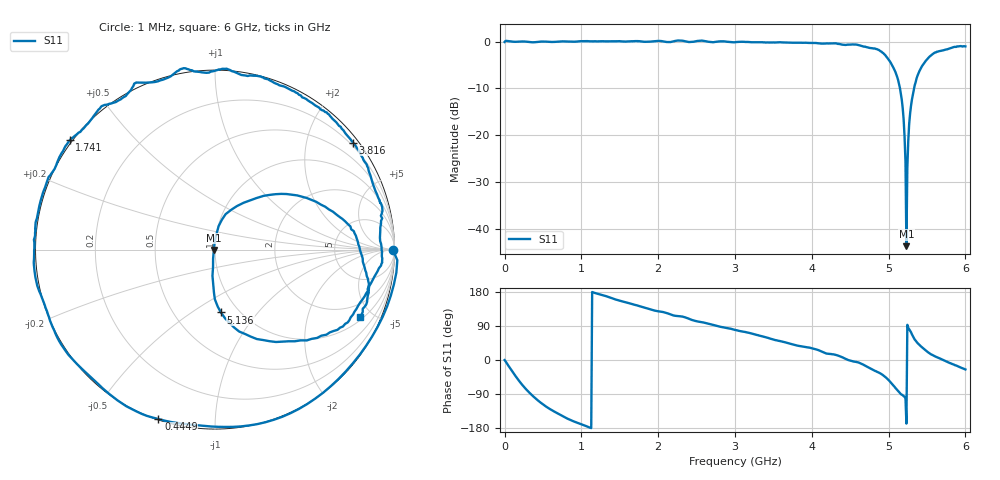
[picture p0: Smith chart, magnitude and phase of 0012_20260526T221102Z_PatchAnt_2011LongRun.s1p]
# Hz S RI R 50
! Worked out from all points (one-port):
!   501 points, 1 MHz to 6 GHz, reference 50 ohm
!   lowest |S11| = -43.7 dB at 5.232 GHz (marker M1), VSWR 1.01, Z = 49.4 - j0.137 ohm
!   |S11| at or under -10 dB: 5.149 GHz to 5.332 GHz (182.9 MHz wide, 3.49 % of centre)
!   S11 on the Smith chart (normalised r, x): 1 MHz: open; 444.9 MHz: 0.00, -0.72; 1.741 GHz: -0.01, +0.33; 3.816 GHz: 0.13, +2.92; 5.136 GHz: 0.83, -0.66; 6 GHz: 1.17, -4.21
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1000000  0.9921 -0.00321
8.4986e7  0.9056 -0.4315
2.16964e8  0.4675 -0.8877
3.0095e8  0.1452 -0.985
4.44926e8  -0.315 -0.9442
7.56874e8  -0.8562 -0.5295
1.056824e9  -1.007 -0.1058
1.50075e9  -0.9269 0.405
1.74071e9  -0.8095 0.609
2.256624e9  -0.4503 0.9246
3.0005e9  0.1821 0.9672
3.756374e9  0.7362 0.6365
3.816364e9  0.7696 0.5967
4.308282e9  0.9321 0.227
4.50025e9  0.9297 -0.0231
4.86019e9  0.6967 -0.435
5.028162e9  0.3052 -0.5105
5.136144e9  0.0331 -0.3502
5.184136e9  -0.0099 -0.1938
5.196134e9  -0.0141 -0.1464
5.208132e9  -0.0109 -0.0955
5.232128e9  -0.0064 -0.00139
5.256124e9  0.0082 0.0863
5.268122e9  0.0202 0.1309
5.292118e9  0.0594 0.1977
5.412098e9  0.3987 0.3096
5.628062e9  0.7737 0.1025
6e9  0.8063 -0.375
